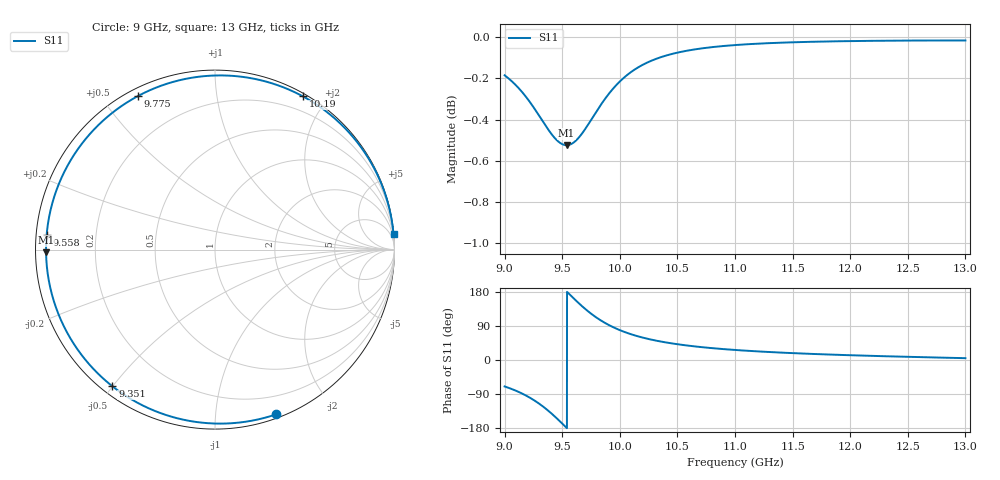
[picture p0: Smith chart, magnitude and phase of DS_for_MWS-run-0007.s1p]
! TOUCHSTONE file generated by CST DESIGN STUDIO
! Date and time: Tue Feb  4 16:39:58 2025
! Project name: C:\Work\MatlabApps\UnitCellOptimizationMatlab\CST\unitcell.cst
! Tree item: Tasks\Sweep1\SPara1\S-Parameters
! Header version: 2024
! Port assignment regex: !\s*Touchstone port\s*([0-9]+)\s*=\s*(CST MWS port|CST DES external port|CST DES block port)\s*(.+)\s* \(\"(.*)\"\)(\s*mode\s*([0-9]+))?.*
! Touchstone port assignment:
! Touchstone port 1 = CST DES external port 1 ("")
# GHz S MA R 50
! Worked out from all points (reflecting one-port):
!   4001 points, 9 GHz to 13 GHz, reference 50 ohm
!   lowest |S11| = -0.5 dB at 9.538 GHz (marker M1), VSWR 33.15, Z = 1.51 - j0.423 ohm
!   phase of S11 starts at -70 deg and turns -285 deg over the sweep
!   S11 on the Smith chart (normalised r, x): 9 GHz: 0.03, -1.43; 9.351 GHz: 0.03, -0.50; 9.558 GHz: 0.03, +0.04; 9.775 GHz: 0.03, +0.62; 10.19 GHz: 0.03, +1.72; 13 GHz: 0, +24
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9  0.979 -69.8
9.099  0.9735 -81.2
9.207  0.9655 -97.3
9.283  0.9587 -111.7
9.351  0.9522 -126.9
9.422  0.9461 -145.2
9.463  0.9435 -156.8
9.5  0.942 -167.7
9.538  0.9414 -179.0
9.558  0.9416 175.0
9.612  0.9434 158.9
9.673  0.9477 141.8
9.724  0.9522 128.6
9.775  0.9572 116.8
9.822  0.9617 107.0
9.874  0.9664 97.4
9.932  0.971 88.1
10  0.9756 78.8
10.089  0.9804 68.8
10.185  0.9843 60.2
10.329  0.9884 50.3
10.5  0.9915 41.6
10.721  0.9939 33.6
11  0.9957 26.5
11.5  0.9972 18.1
12  0.9979 12.6
12.5  0.9982 8.4
13  0.9982 4.8
